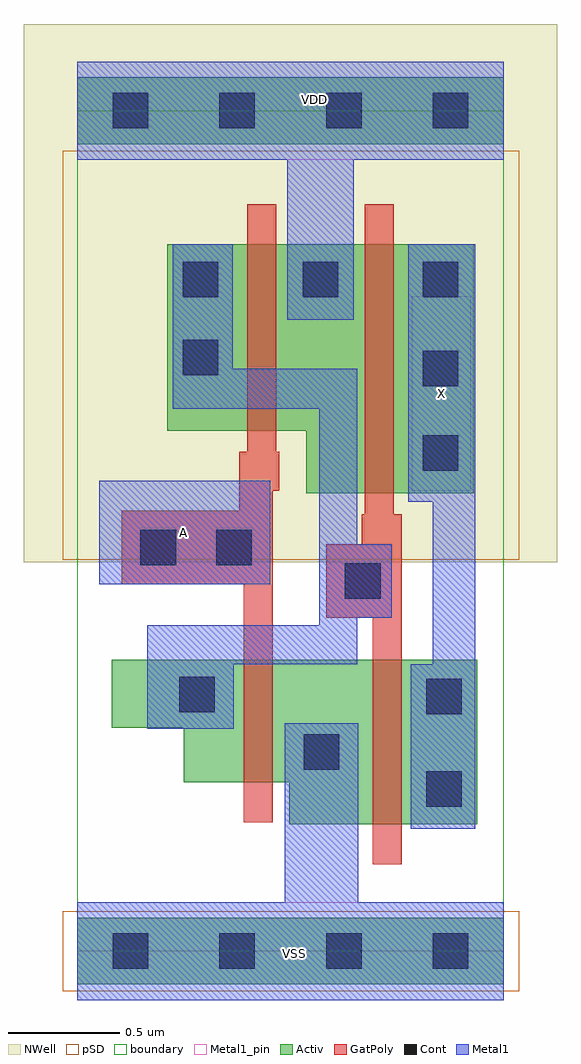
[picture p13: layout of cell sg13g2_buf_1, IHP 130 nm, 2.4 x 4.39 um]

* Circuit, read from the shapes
.subckt sg13g2_buf_1 A VDD VSS X
XM1 VSS A n1 VSS sg13_lv_nmos w=0.55u l=0.13u
XM2 X n1 VSS VSS sg13_lv_nmos w=0.74u l=0.13u
XM3 VDD A n1 VDD sg13_lv_pmos w=0.84u l=0.13u
XM4 X n1 VDD VDD sg13_lv_pmos w=1.12u l=0.13u
.ends

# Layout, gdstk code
import gdstk
lib = gdstk.Library(unit=1e-6, precision=1e-09)
def R(c, l, rs):  # rectangles x0, y0, x1, y1
    for r in rs: c.add(gdstk.rectangle(r[:2], r[2:], *l))
def A(c, l, x, y, w, h, nx, ny, dx, dy):  # array of equal rectangles
    R(c, l, [(x+i*dx, y+j*dy, x+i*dx+w, y+j*dy+h) for i in range(nx) for j in range(ny)])
def P(c, l, *ps):  # polygons
    for p in ps: c.add(gdstk.Polygon(p, *l))
Activ = (1, 0)
GatPoly = (5, 0)
Cont = (6, 0)
Metal1 = (8, 0)
Metal1_pin = (8, 2)
pSD = (14, 0)
NWell = (31, 0)
boundary = (189, 4)

sg13g2_buf_1 = lib.new_cell('sg13g2_buf_1')
R(sg13g2_buf_1, Activ, [(0,-0.15,1.92,0.15), (0,3.63,1.92,3.93)])
P(sg13g2_buf_1, Activ, [(0.955,0.57),(0.955,0.76),(0.48,0.76),(0.48,1.005),(0.155,1.005),(0.155,1.31),(1.8,1.31),(1.8,0.57)],
  [(1.03,2.06),(1.03,2.34),(0.405,2.34),(0.405,3.18),(1.785,3.18),(1.785,2.06)])
P(sg13g2_buf_1, GatPoly, [(1.33,0.39),(1.33,1.5),(1.12,1.5),(1.12,1.83),(1.28,1.83),(1.28,1.965),(1.295,1.965),(1.295,3.36),(1.425,3.36),(1.425,1.965),(1.46,1.965),(1.46,0.39)],
  [(0.75,0.58),(0.75,1.65),(0.2,1.65),(0.2,1.98),(0.73,1.98),(0.73,2.245),(0.765,2.245),(0.765,3.36),(0.895,3.36),(0.895,2.245),(0.91,2.245),(0.91,2.07),(0.88,2.07),(0.88,0.58)])
A(sg13g2_buf_1, Cont, 0.16, -0.08, 0.16, 0.16, 4, 2, 0.48, 3.78)
A(sg13g2_buf_1, Cont, 0.475, 2.94, 0.16, 0.16, 3, 1, 0.54, 0)
R(sg13g2_buf_1, Cont, [(1.57,0.65,1.73,0.81), (1.02,0.815,1.18,0.975), (1.57,1.065,1.73,1.225), (0.46,1.075,0.62,1.235), (1.205,1.585,1.365,1.745), (0.285,1.735,0.445,1.895), (0.625,1.735,0.785,1.895), (1.555,2.16,1.715,2.32), (1.555,2.54,1.715,2.7), (0.475,2.59,0.635,2.75)])
R(sg13g2_buf_1, Metal1, [(0.1,1.65,0.87,2.115)])
P(sg13g2_buf_1, Metal1, [(0.315,1),(0.315,1.465),(1.09,1.465),(1.09,2.44),(0.43,2.44),(0.43,3.18),(0.7,3.18),(0.7,2.62),(1.26,2.62),(1.26,1.83),(1.415,1.83),(1.415,1.5),(1.26,1.5),(1.26,1.29),(0.705,1.29),(0.705,1)],
  [(1.5,0.55),(1.5,1.29),(1.6,1.29),(1.6,2.02),(1.49,2.02),(1.49,3.18),(1.79,3.18),(1.79,0.55)],
  [(0,-0.22),(0,0.22),(0.935,0.22),(0.935,1.025),(1.265,1.025),(1.265,0.22),(1.92,0.22),(1.92,-0.22)],
  [(0.945,2.84),(0.945,3.56),(0,3.56),(0,4),(1.92,4),(1.92,3.56),(1.245,3.56),(1.245,2.84)])
R(sg13g2_buf_1, Metal1_pin, [(0,-0.22,1.92,0.22), (0.1,1.65,0.87,2.115), (1.505,2.07,1.77,2.945), (1.505,2.07,1.77,2.945), (0,3.56,1.92,4)])
R(sg13g2_buf_1, pSD, [(-0.065,-0.18,1.99,0.18), (-0.065,1.76,1.99,3.6)])
R(sg13g2_buf_1, NWell, [(-0.24,1.75,2.16,4.17)])
R(sg13g2_buf_1, boundary, [(0,0,1.92,3.78)])
sg13g2_buf_1.add(gdstk.Label('VSS', (0.98,-0.01), layer=8, texttype=25))
sg13g2_buf_1.add(gdstk.Label('VDD', (1.07,3.83), layer=8, texttype=25))
sg13g2_buf_1.add(gdstk.Label('X', (1.64,2.51), layer=8, texttype=1))
sg13g2_buf_1.add(gdstk.Label('A', (0.48,1.885), layer=8, texttype=1))

lib.write_gds('sg13g2_buf_1.gds')
